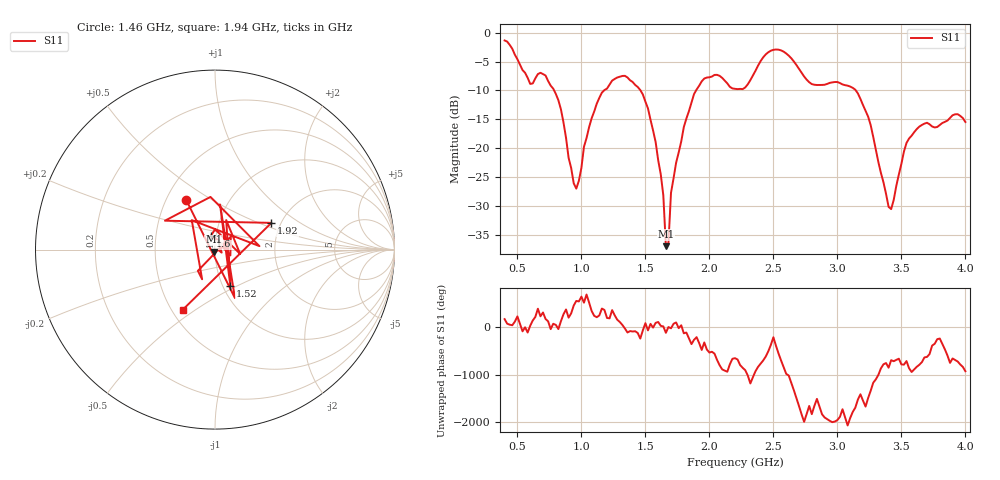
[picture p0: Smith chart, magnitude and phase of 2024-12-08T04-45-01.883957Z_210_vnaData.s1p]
!Created with skrf (http://scikit-rf.org).
# Hz S RI R 50.0
!freq ReS11 ImS11
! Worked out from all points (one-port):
!   181 points, 400 MHz to 4 GHz, reference 50 ohm
!   lowest |S11| = -37.0 dB at 1.66 GHz (marker M1), VSWR 1.03, Z = 49.3 - j1.22 ohm
!   |S11| at or under -10 dB: 787.1 MHz to 1.177 GHz (389.8 MHz wide, 39.7 % of centre); 1.462 GHz to 1.896 GHz (433.9 MHz wide, 25.8 % of centre); 3.144 GHz to end of sweep
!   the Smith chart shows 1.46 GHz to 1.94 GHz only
!   S11 on the Smith chart (normalised r, x): 1.46 GHz: 0.63, +0.39; 1.52 GHz: 1.08, -0.46; 1.6 GHz: 0.94, +0.14; 1.92 GHz: 1.79, +0.61; 1.94 GHz: 0.57, -0.45
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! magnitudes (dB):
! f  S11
! 400 MHz  -1.3
! 600 MHz  -8.9
! 720 MHz  -7.4
! 860 MHz  -15.5
! 960 MHz  -27.0
! 1.02 GHz  -19.8
! 1.12 GHz  -12.3
! 1.3 GHz  -7.6
! 1.46 GHz  -9.9
! 1.52 GHz  -13.1
! 1.6 GHz  -22.1
! 1.64 GHz  -28.2
! 1.66 GHz  -37.0
! 1.68 GHz  -36.5
! 1.7 GHz  -27.8
! 1.76 GHz  -20.8
! 1.92 GHz  -9.2
! 1.94 GHz  -8.4
! 2.2 GHz  -9.7
! 2.48 GHz  -3.1
! 2.66 GHz  -5.0
! 2.8 GHz  -8.9
! 3.1 GHz  -9.3
! 3.24 GHz  -14.5
! 3.42 GHz  -30.6
! 3.56 GHz  -18.3
! 3.92 GHz  -14.1
! 4 GHz  -15.5
